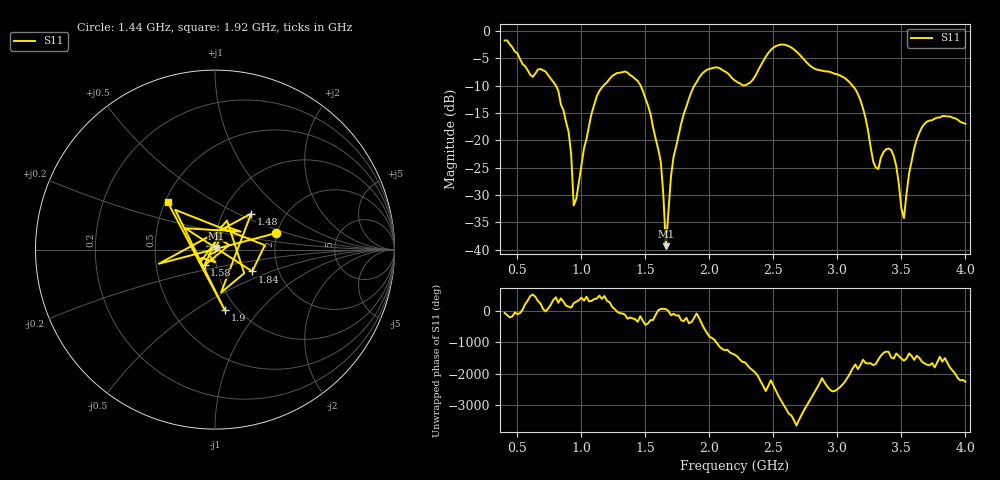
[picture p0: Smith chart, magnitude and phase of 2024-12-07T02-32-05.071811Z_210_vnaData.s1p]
!Created with skrf (http://scikit-rf.org).
# Hz S RI R 50.0
!freq ReS11 ImS11
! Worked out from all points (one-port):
!   181 points, 400 MHz to 4 GHz, reference 50 ohm
!   lowest |S11| = -39.4 dB at 1.66 GHz (marker M1), VSWR 1.02, Z = 50.6 + j0.914 ohm
!   |S11| at or under -10 dB: 801.6 MHz to 1.172 GHz (370.5 MHz wide, 37.5 % of centre); 1.463 GHz to 1.882 GHz (418.8 MHz wide, 25 % of centre); 3.118 GHz to end of sweep
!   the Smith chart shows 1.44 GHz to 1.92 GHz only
!   S11 on the Smith chart (normalised r, x): 1.44 GHz: 1.96, +0.41; 1.48 GHz: 1.36, +0.59; 1.58 GHz: 0.88, -0.15; 1.84 GHz: 1.47, -0.38; 1.9 GHz: 0.88, -0.67; 1.92 GHz: 0.51, +0.32
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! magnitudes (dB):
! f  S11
! 400 MHz  -1.7
! 620 MHz  -8.4
! 720 MHz  -7.4
! 860 MHz  -14.5
! 920 MHz  -22.6
! 940 MHz  -31.9
! 1.12 GHz  -11.9
! 1.3 GHz  -7.6
! 1.44 GHz  -9.1
! 1.48 GHz  -10.9
! 1.58 GHz  -19.7
! 1.62 GHz  -23.9
! 1.66 GHz  -39.4
! 1.7 GHz  -26.6
! 1.76 GHz  -19.0
! 1.84 GHz  -12.4
! 1.9 GHz  -9.3
! 1.92 GHz  -8.5
! 2.2 GHz  -9.1
! 2.66 GHz  -3.3
! 3.1 GHz  -9.5
! 3.2 GHz  -14.1
! 3.3 GHz  -25.0
! 3.44 GHz  -22.8
! 3.52 GHz  -34.2
! 3.56 GHz  -26.1
! 3.7 GHz  -16.5
! 4 GHz  -16.9
